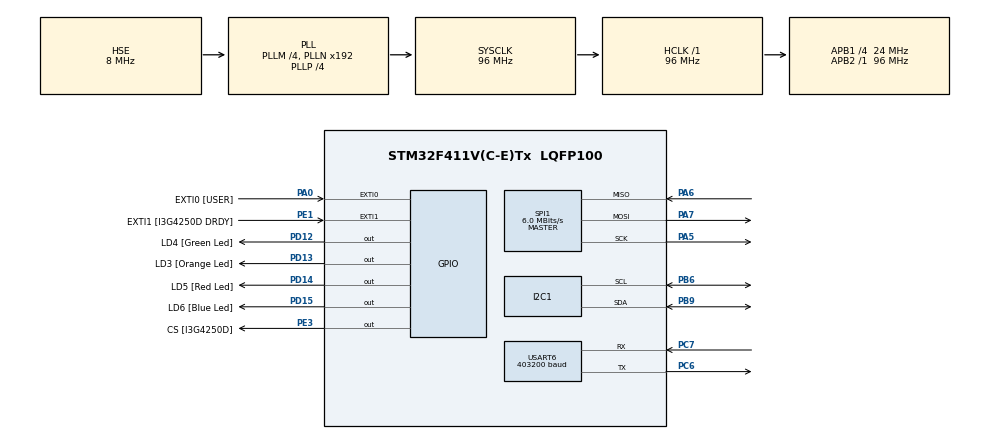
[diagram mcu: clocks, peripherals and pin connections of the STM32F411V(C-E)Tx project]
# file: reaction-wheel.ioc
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I2C1.OwnAddress=0x19
Mcu.Family=STM32F4
Mcu.Name=STM32F411V(C-E)Tx
Mcu.Package=LQFP100
NVIC.EXTI0_IRQn=true\:0\:0\:false\:false\:true\:true\:true\:true
NVIC.PriorityGroup=NVIC_PRIORITYGROUP_4
PA0-WKUP.GPIO_Label=EXTI0 [USER]
PA0-WKUP.GPIO_ModeDefaultEXTI=GPIO_MODE_IT_RISING_FALLING
PA0-WKUP.GPIO_PuPd=GPIO_NOPULL
PA0-WKUP.Signal=GPXTI0
PA13.GPIO_Label=SWDIO
PA13.Mode=Serial_Wire
PA13.Signal=SYS_JTMS-SWDIO
PA14.GPIO_Label=SWCLK
PA14.Mode=Serial_Wire
PA14.Signal=SYS_JTCK-SWCLK
PA5.Mode=Full_Duplex_Master
PA5.Signal=SPI1_SCK
PA6.Mode=Full_Duplex_Master
PA6.Signal=SPI1_MISO
PA7.Mode=Full_Duplex_Master
PA7.Signal=SPI1_MOSI
PB3.GPIO_Label=SWO
PB3.Signal=SYS_JTDO-SWO
PB6.Mode=I2C
PB6.Signal=I2C1_SCL
PB9.Mode=I2C
PB9.Signal=I2C1_SDA
PC14-OSC32_IN.GPIO_Label=PC14-OSC32_IN
PC14-OSC32_IN.Mode=LSE-External-Oscillator
PC14-OSC32_IN.Signal=RCC_OSC32_IN
PC15-OSC32_OUT.GPIO_Label=PC15-OSC32_OUT
PC15-OSC32_OUT.Mode=LSE-External-Oscillator
PC15-OSC32_OUT.Signal=RCC_OSC32_OUT
PC6.Mode=Asynchronous
PC6.Signal=USART6_TX
PC7.Mode=Asynchronous
PC7.Signal=USART6_RX
PD12.GPIO_Label=LD4 [Green Led]
PD12.GPIO_PuPd=GPIO_NOPULL
PD12.GPIO_Speed=GPIO_SPEED_FREQ_LOW
PD12.Signal=GPIO_Output
PD13.GPIO_Label=LD3 [Orange Led]
PD13.GPIO_PuPd=GPIO_NOPULL
PD13.GPIO_Speed=GPIO_SPEED_FREQ_LOW
PD13.Signal=GPIO_Output
PD14.GPIO_Label=LD5 [Red Led]
PD14.GPIO_PuPd=GPIO_NOPULL
PD14.GPIO_Speed=GPIO_SPEED_FREQ_LOW
PD14.Signal=GPIO_Output
PD15.GPIO_Label=LD6 [Blue Led]
PD15.GPIO_PuPd=GPIO_NOPULL
PD15.GPIO_Speed=GPIO_SPEED_FREQ_LOW
PD15.Signal=GPIO_Output
PE1.GPIO_Label=EXTI1 [I3G4250D DRDY]
PE1.Signal=GPXTI1
PE3.GPIO_Label=CS [I3G4250D]
PE3.Signal=GPIO_Output
PH0\ -\ OSC_IN.GPIO_Label=PH0-OSC_IN
PH0\ -\ OSC_IN.Mode=HSE-External-Oscillator
PH0\ -\ OSC_IN.Signal=RCC_OSC_IN
PH1\ -\ OSC_OUT.GPIO_Label=PH1-OSC_OUT
PH1\ -\ OSC_OUT.Mode=HSE-External-Oscillator
PH1\ -\ OSC_OUT.Signal=RCC_OSC_OUT
ProjectManager.HeapSize=0x200
ProjectManager.StackSize=0x400
ProjectManager.TargetToolchain=STM32CubeIDE
RCC.48MHZClocksFreq_Value=48000000
RCC.AHBFreq_Value=96000000
RCC.APB1CLKDivider=RCC_HCLK_DIV4
RCC.APB1Freq_Value=24000000
RCC.APB1TimFreq_Value=48000000
RCC.APB2Freq_Value=96000000
RCC.APB2TimFreq_Value=96000000
RCC.CortexFreq_Value=96000000
RCC.HCLKFreq_Value=96000000
RCC.HSE_VALUE=8000000
RCC.HSI_VALUE=16000000
RCC.PLLI2SM=5
RCC.PLLI2SN=200
RCC.PLLM=4
RCC.PLLP=RCC_PLLP_DIV4
RCC.PLLQ=8
RCC.PLLSourceVirtual=RCC_PLLSOURCE_HSE
RCC.SYSCLKFreq_VALUE=96000000
RCC.SYSCLKSource=RCC_SYSCLKSOURCE_PLLCLK
RCC.VCOOutputFreq_Value=384000000
SPI1.BaudRatePrescaler=SPI_BAUDRATEPRESCALER_16
SPI1.CLKPolarity=SPI_POLARITY_LOW
SPI1.CalculateBaudRate=6.0 MBits/s
SPI1.Direction=SPI_DIRECTION_2LINES
SPI1.Mode=SPI_MODE_MASTER
SPI1.VirtualType=VM_MASTER
TIM5.Prescaler=TIM5_PRESCALER - 1
USART6.BaudRate=403200
USART6.VirtualMode=VM_ASYNC
VP_TIM5_VS_ClockSourceINT.Mode=Internal
board=STM32F411E-DISCO

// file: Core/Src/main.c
/* USER CODE BEGIN Header */
/**
  ******************************************************************************
  * @file           : main.c
  * @brief          : Main program body
  ******************************************************************************
  * @attention
  *
  * Copyright (c) 2022 STMicroelectronics.
  * All rights reserved.
  *
  * This software is licensed under terms that can be found in the LICENSE file
  * in the root directory of this software component.
  * If no LICENSE file comes with this software, it is provided AS-IS.
  *
  ******************************************************************************
  */
/* USER CODE END Header */
#include "main.h"
#include "i2c.h"
#include "spi.h"
#include "tim.h"
#include "usart.h"
#include "gpio.h"

/* USER CODE BEGIN PD */
typedef enum {
	INIT,
	IDLE,
	BTN,
	PRINT
} program_mode_t;
/* USER CODE END PD */

/* USER CODE BEGIN PV */
//stmdev_ctx_t mag_ctx;
stmdev_ctx_t gyro_ctx;
stmdev_ctx_t accel_ctx;
stmdev_ctx_t mag_ctx;

program_mode_t program_mode = INIT;
uint32_t program_mode_time;
uint32_t button_time;

/* USER CODE END PV */

void SystemClock_Config(void);

/* USER CODE BEGIN 0 */

// overwrite _write so that printf sends to SWO
int _write(int file, char* ptr, int len)
{
	for (int i = 0; i < len; i++)
	{
		ITM_SendChar(ptr[i]);
	}
	return len;
}

#define USART_MAX_BUFF 104

// send printf-style arguments to UART 6
int print_uart(const char* fmt, ...)
{
	char buf[USART_MAX_BUFF];
	int status;
	va_list ap;

	// pass variable number of arguments using va_list function
	// see the end of [man printf]
	va_start(ap, fmt);
	status = vsnprintf(buf, USART_MAX_BUFF, fmt, ap);
	va_end(ap);

	if (status >= USART_MAX_BUFF || status < 0)
	{
		return -1;
	}

	status = (int) HAL_UART_Transmit(&huart6, (const uint8_t*) buf, (uint16_t) (status + 1), 15);
	return status;
}

uint16_t idle_led = LED_ORANGE;
uint16_t btn_led = LED_GREEN;
uint16_t print_led = LED_BLUE;

int32_t flash_led(void* self)
{
	bad_task_t* bt = (bad_task_t*) self;

	HAL_GPIO_TogglePin(LED_BANK, *( (uint16_t*) (bt->data) ));

	return 0;
}

int print_vector3(vector3_t vector)
{
	return print_uart("%3.3f\t%3.3f\t%3.3f\t", vector.x, vector.y, vector.z);
}

int32_t print_sensors(void* self)
{
	int32_t status;
	uint32_t time;
	vector3_t angular_rate;
	vector3_t acceleration;
	vector3_t mag_field;
	vector3_t nan = {.x = NAN, .y = NAN, .z = NAN};

	time = __HAL_TIM_GET_COUNTER(&htim5);

	print_uart("%3.3f\t", (float_t) time / 1e6);
	status = get_angular_rate(&gyro_ctx, &angular_rate);
	if (status)
		print_vector3(nan);
	else
		print_vector3(angular_rate);

	status = get_accel(&accel_ctx, &acceleration);
	if (status)
		print_vector3(nan);
	else
		print_vector3(acceleration);

	status = get_mag(&mag_ctx, &mag_field);
	if (status)
		print_vector3(nan);
	else
		print_vector3(mag_field);

	print_uart("\r\n");

	return 0;
}

bad_task_t idle_tasks[] = {
	{.task = flash_led, .data = &idle_led, .timer = &htim5, .period = 250*1000U, .last = 0U}
};

bad_task_t btn_tasks[] = {
	{.task = flash_led, .data = &btn_led, .timer = &htim5, .period = 250*1000U, .last = 0U}
};

bad_task_t print_tasks[] = {
	{.task = flash_led, .data = &print_led, .timer = &htim5, .period = 250*1000U, .last = 0U},
	{.task = print_sensors, .data = NULL, .timer = &htim5, .period = 10*1000U, .last = 0U},
};
/* USER CODE END 0 */

int main(void)
{

  /* MCU Configuration--------------------------------------------------------*/

  /* Reset of all peripherals, Initializes the Flash interface and the Systick. */
  HAL_Init();

  /* USER CODE BEGIN Init */
  program_mode = IDLE;
  /* USER CODE END Init */

  /* Configure the system clock */
  SystemClock_Config();

  /* Initialize all configured peripherals */
  MX_GPIO_Init();
  MX_SPI1_Init();
  MX_I2C1_Init();
  MX_TIM5_Init();
  MX_USART6_UART_Init();
  /* USER CODE BEGIN 2 */

  init_gyro(&gyro_ctx, &hspi1);
  init_accel(&accel_ctx, &hi2c1);
  init_mag(&mag_ctx, &hi2c1);
  HAL_TIM_Base_Start(&htim5);
  printf("Printing all sensors\n");

  /* USER CODE END 2 */

  /* Infinite loop */
  while (1)
  {

    /* USER CODE BEGIN 3 */
	  switch(program_mode)
	  {
			case(INIT):
			case(IDLE):
			  RUN_TASKS(idle_tasks);
			  break;
			case(BTN):
			  RUN_TASKS(btn_tasks);
			  break;
			case(PRINT):
			  RUN_TASKS(print_tasks);
			  break;
	  }
  }
  /* USER CODE END 3 */
}

void SystemClock_Config(void)
{
  RCC_OscInitTypeDef RCC_OscInitStruct = {0};
  RCC_ClkInitTypeDef RCC_ClkInitStruct = {0};

  /** Configure the main internal regulator output voltage
  */
  __HAL_RCC_PWR_CLK_ENABLE();
  __HAL_PWR_VOLTAGESCALING_CONFIG(PWR_REGULATOR_VOLTAGE_SCALE1);

  /** Initializes the RCC Oscillators according to the specified parameters
  * in the RCC_OscInitTypeDef structure.
  */
  RCC_OscInitStruct.OscillatorType = RCC_OSCILLATORTYPE_HSE;
  RCC_OscInitStruct.HSEState = RCC_HSE_ON;
  RCC_OscInitStruct.PLL.PLLState = RCC_PLL_ON;
  RCC_OscInitStruct.PLL.PLLSource = RCC_PLLSOURCE_HSE;
  RCC_OscInitStruct.PLL.PLLM = 4;
  RCC_OscInitStruct.PLL.PLLN = 192;
  RCC_OscInitStruct.PLL.PLLP = RCC_PLLP_DIV4;
  RCC_OscInitStruct.PLL.PLLQ = 8;
  if (HAL_RCC_OscConfig(&RCC_OscInitStruct) != HAL_OK)
  {
    Error_Handler();
  }

  /** Initializes the CPU, AHB and APB buses clocks
  */
  RCC_ClkInitStruct.ClockType = RCC_CLOCKTYPE_HCLK|RCC_CLOCKTYPE_SYSCLK
                              |RCC_CLOCKTYPE_PCLK1|RCC_CLOCKTYPE_PCLK2;
  RCC_ClkInitStruct.SYSCLKSource = RCC_SYSCLKSOURCE_PLLCLK;
  RCC_ClkInitStruct.AHBCLKDivider = RCC_SYSCLK_DIV1;
  RCC_ClkInitStruct.APB1CLKDivider = RCC_HCLK_DIV4;
  RCC_ClkInitStruct.APB2CLKDivider = RCC_HCLK_DIV1;

  if (HAL_RCC_ClockConfig(&RCC_ClkInitStruct, FLASH_LATENCY_3) != HAL_OK)
  {
    Error_Handler();
  }
}

/* USER CODE BEGIN 4 */
void handle_button(void)
{
	uint32_t cur = __HAL_TIM_GET_COUNTER(&htim5);
	GPIO_PinState button_state = HAL_GPIO_ReadPin(GPIOA, GPIO_PIN_0);
	if (button_state == GPIO_PIN_SET && program_mode == IDLE)
	{
		program_mode = BTN;
		button_time = cur;
		program_mode_time = cur;
	}
	else if (button_state == GPIO_PIN_RESET && program_mode == BTN)
	{
		uint32_t elapsed = cur - button_time;
		uint32_t sec = 1000000;
		if (elapsed > 1 * sec)
		{
			HAL_GPIO_WritePin(LED_BANK, idle_led, GPIO_PIN_RESET);
			HAL_GPIO_WritePin(LED_BANK, btn_led, GPIO_PIN_RESET);
			program_mode = PRINT;
			program_mode_time = cur;
		}
		else
		{
			program_mode = IDLE;
			program_mode_time = cur;
		}
	}
}

void HAL_GPIO_EXTI_Callback(uint16_t GPIO_Pin)
{
//	printf("EXTI %u\n", GPIO_Pin);
	switch(GPIO_Pin)
	{
		case(1):
			handle_button();
			break;
		default:
			printf("# Pin %u ISR not defined\n", GPIO_Pin);
			break;
	}
}
/* USER CODE END 4 */

void Error_Handler(void)
{
  __disable_irq();
  while (1)
  {
  }
}
